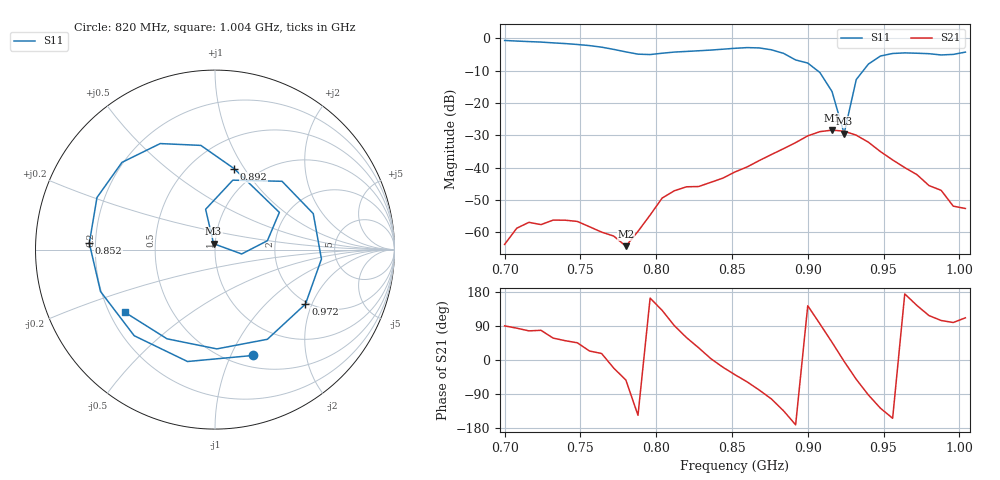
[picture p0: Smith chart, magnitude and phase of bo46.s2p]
# Hz S RI R 50
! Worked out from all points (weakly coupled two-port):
!   39 points, 700 MHz to 1.004 GHz, reference 50 ohm
!   highest |S21| = -28.40 dB at 916 MHz (marker M1); lowest = -64.3 dB at 780 MHz (marker M2)
!   lowest |S11| = -29.4 dB at 924 MHz (marker M3), VSWR 1.07, Z = 49.1 + j3.22 ohm
!   |S11| at or under -10 dB: 906.4 MHz to 936.6 MHz (30.16 MHz wide, 3.27 % of centre)
!   S12 and S22 are empty: the file has one direction only
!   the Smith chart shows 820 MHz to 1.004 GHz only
!   S11 on the Smith chart (normalised r, x): 820 MHz: 0.63, -1.22; 852 MHz: 0.18, +0.02; 892 MHz: 0.79, +0.90; 972 MHz: 1.93, -1.80; 1.004 GHz: 0.26, -0.29
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7e8  0.7623 0.5277  -1.21e-06 0.000651  0 0  0 0
7.24e8  0.8342 -0.2651  0.000265 0.00129  0 0  0 0
7.4e8  0.4415 -0.7026  0.00097 0.00119  0 0  0 0
7.56e8  -0.2016 -0.7453  0.00112 0.00049  0 0  0 0
7.72e8  -0.6511 -0.1754  0.000814 -0.00032  0 0  0 0
7.8e8  -0.5656 0.2465  0.000369 -0.000486  0 0  0 0
7.88e8  -0.1979 0.5339  -0.000857 -0.00058  0 0  0 0
8.04e8  0.5788 0.1071  -0.00221 0.00258  0 0  0 0
8.2e8  0.2133 -0.5896  0.0026 0.00434  0 0  0 0
8.36e8  -0.4502 -0.4799  0.00591 0.000392  0 0  0 0
8.52e8  -0.7003 0.0357  0.00669 -0.00539  0 0  0 0
8.76e8  -0.3052 0.5907  -0.00351 -0.0156  0 0  0 0
8.92e8  0.1074 0.4505  -0.0241 -0.00383  0 0  0 0
9.08e8  0.292 0.0495  -0.00339 0.0359  0 0  0 0
9.16e8  0.1486 -0.0243  0.0261 0.0277  0 0  0 0
9.24e8  -0.0078 0.0328  0.0365 -0.00239  0 0  0 0
9.32e8  -0.0522 0.2246  0.02 -0.0247  0 0  0 0
9.48e8  0.3736 0.3805  -0.0107 -0.014  0 0  0 0
9.56e8  0.5474 0.2005  -0.0118 -0.00582  0 0  0 0
9.72e8  0.5041 -0.3034  -0.00631 0.0046  0 0  0 0
9.88e8  0.0101 -0.5532  -0.0011 0.00432  0 0  0 0
1.004e9  -0.5031 -0.3486  -0.000849 0.00218  0 0  0 0
